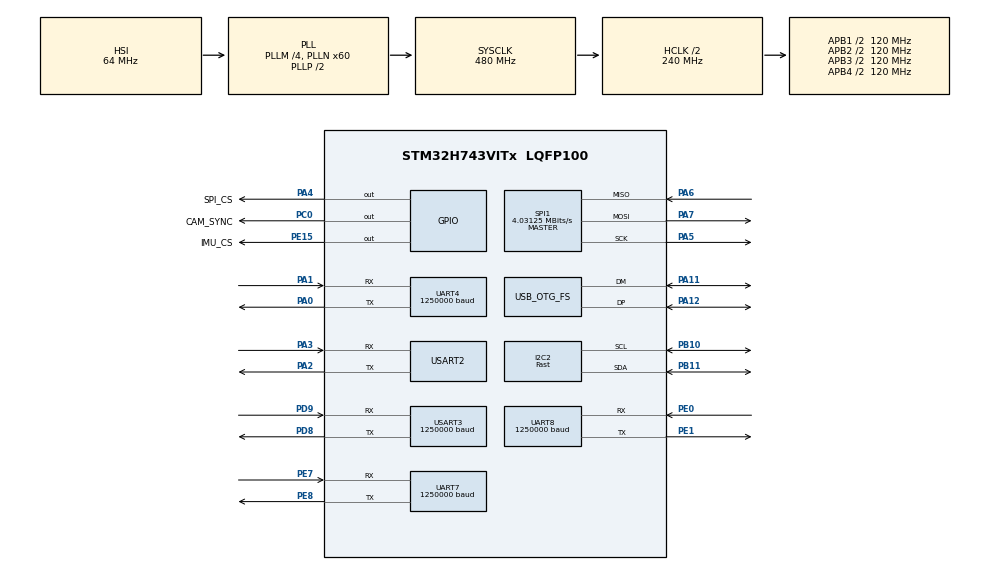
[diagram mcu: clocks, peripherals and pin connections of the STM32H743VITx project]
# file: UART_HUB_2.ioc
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Dma.I2C2_RX.0.Direction=DMA_PERIPH_TO_MEMORY
Dma.I2C2_RX.0.EventEnable=DISABLE
Dma.I2C2_RX.0.FIFOMode=DMA_FIFOMODE_DISABLE
Dma.I2C2_RX.0.Instance=DMA1_Stream0
Dma.I2C2_RX.0.MemDataAlignment=DMA_MDATAALIGN_BYTE
Dma.I2C2_RX.0.MemInc=DMA_MINC_ENABLE
Dma.I2C2_RX.0.Mode=DMA_NORMAL
Dma.I2C2_RX.0.PeriphDataAlignment=DMA_PDATAALIGN_BYTE
Dma.I2C2_RX.0.PeriphInc=DMA_PINC_DISABLE
Dma.I2C2_RX.0.Polarity=HAL_DMAMUX_REQ_GEN_RISING
Dma.I2C2_RX.0.Priority=DMA_PRIORITY_LOW
Dma.I2C2_RX.0.RequestNumber=1
Dma.I2C2_RX.0.SignalID=NONE
Dma.I2C2_RX.0.SyncEnable=DISABLE
Dma.I2C2_RX.0.SyncPolarity=HAL_DMAMUX_SYNC_NO_EVENT
Dma.I2C2_RX.0.SyncRequestNumber=1
Dma.I2C2_RX.0.SyncSignalID=NONE
Dma.I2C2_TX.1.Direction=DMA_MEMORY_TO_PERIPH
Dma.I2C2_TX.1.EventEnable=DISABLE
Dma.I2C2_TX.1.FIFOMode=DMA_FIFOMODE_DISABLE
Dma.I2C2_TX.1.Instance=DMA1_Stream1
Dma.I2C2_TX.1.MemDataAlignment=DMA_MDATAALIGN_BYTE
Dma.I2C2_TX.1.MemInc=DMA_MINC_ENABLE
Dma.I2C2_TX.1.Mode=DMA_NORMAL
Dma.I2C2_TX.1.PeriphDataAlignment=DMA_PDATAALIGN_BYTE
Dma.I2C2_TX.1.PeriphInc=DMA_PINC_DISABLE
Dma.I2C2_TX.1.Polarity=HAL_DMAMUX_REQ_GEN_RISING
Dma.I2C2_TX.1.Priority=DMA_PRIORITY_LOW
Dma.I2C2_TX.1.RequestNumber=1
Dma.I2C2_TX.1.SignalID=NONE
Dma.I2C2_TX.1.SyncEnable=DISABLE
Dma.I2C2_TX.1.SyncPolarity=HAL_DMAMUX_SYNC_NO_EVENT
Dma.I2C2_TX.1.SyncRequestNumber=1
Dma.I2C2_TX.1.SyncSignalID=NONE
Dma.Request0=I2C2_RX
Dma.Request1=I2C2_TX
Dma.Request2=SPI1_TX
Dma.Request3=SPI1_RX
Dma.SPI1_RX.3.Direction=DMA_PERIPH_TO_MEMORY
Dma.SPI1_RX.3.EventEnable=DISABLE
Dma.SPI1_RX.3.FIFOMode=DMA_FIFOMODE_DISABLE
Dma.SPI1_RX.3.Instance=DMA1_Stream5
Dma.SPI1_RX.3.MemDataAlignment=DMA_MDATAALIGN_BYTE
Dma.SPI1_RX.3.MemInc=DMA_MINC_ENABLE
Dma.SPI1_RX.3.Mode=DMA_NORMAL
Dma.SPI1_RX.3.PeriphDataAlignment=DMA_PDATAALIGN_BYTE
Dma.SPI1_RX.3.PeriphInc=DMA_PINC_DISABLE
Dma.SPI1_RX.3.Polarity=HAL_DMAMUX_REQ_GEN_RISING
Dma.SPI1_RX.3.Priority=DMA_PRIORITY_MEDIUM
Dma.SPI1_RX.3.RequestNumber=1
Dma.SPI1_RX.3.SignalID=NONE
Dma.SPI1_RX.3.SyncEnable=DISABLE
Dma.SPI1_RX.3.SyncPolarity=HAL_DMAMUX_SYNC_NO_EVENT
Dma.SPI1_RX.3.SyncRequestNumber=1
Dma.SPI1_RX.3.SyncSignalID=NONE
Dma.SPI1_TX.2.Direction=DMA_MEMORY_TO_PERIPH
Dma.SPI1_TX.2.EventEnable=DISABLE
Dma.SPI1_TX.2.FIFOMode=DMA_FIFOMODE_DISABLE
Dma.SPI1_TX.2.Instance=DMA1_Stream4
Dma.SPI1_TX.2.MemDataAlignment=DMA_MDATAALIGN_BYTE
Dma.SPI1_TX.2.MemInc=DMA_MINC_ENABLE
Dma.SPI1_TX.2.Mode=DMA_NORMAL
Dma.SPI1_TX.2.PeriphDataAlignment=DMA_PDATAALIGN_BYTE
Dma.SPI1_TX.2.PeriphInc=DMA_PINC_DISABLE
Dma.SPI1_TX.2.Polarity=HAL_DMAMUX_REQ_GEN_RISING
Dma.SPI1_TX.2.Priority=DMA_PRIORITY_MEDIUM
Dma.SPI1_TX.2.RequestNumber=1
Dma.SPI1_TX.2.SignalID=NONE
Dma.SPI1_TX.2.SyncEnable=DISABLE
Dma.SPI1_TX.2.SyncPolarity=HAL_DMAMUX_SYNC_NO_EVENT
Dma.SPI1_TX.2.SyncRequestNumber=1
Dma.SPI1_TX.2.SyncSignalID=NONE
I2C2.I2C_Speed_Mode=I2C_Fast
I2C2.Timing=0x00B03FDB
Mcu.Family=STM32H7
Mcu.Name=STM32H743VITx
Mcu.Package=LQFP100
NVIC.DMA1_Stream0_IRQn=true\:0\:0\:false\:false\:true\:false\:true\:true
NVIC.DMA1_Stream1_IRQn=true\:0\:0\:false\:false\:true\:false\:true\:true
NVIC.DMA1_Stream4_IRQn=true\:0\:0\:false\:false\:true\:false\:true\:true
NVIC.DMA1_Stream5_IRQn=true\:0\:0\:false\:false\:true\:false\:true\:true
NVIC.I2C2_ER_IRQn=true\:0\:0\:false\:false\:true\:true\:true\:true
NVIC.I2C2_EV_IRQn=true\:0\:0\:false\:false\:true\:true\:true\:true
NVIC.OTG_FS_EP1_OUT_IRQn=true\:0\:0\:false\:false\:true\:false\:true\:true
NVIC.OTG_FS_IRQn=true\:0\:0\:false\:false\:true\:false\:true\:true
NVIC.PriorityGroup=NVIC_PRIORITYGROUP_4
NVIC.SPI1_IRQn=true\:0\:0\:false\:false\:true\:false\:true\:true
NVIC.TIM2_IRQn=true\:0\:0\:false\:false\:true\:true\:true\:true
NVIC.TIM3_IRQn=true\:0\:0\:false\:false\:true\:true\:true\:true
NVIC.TIM4_IRQn=true\:0\:0\:false\:false\:true\:true\:true\:true
NVIC.UART8_IRQn=true\:0\:0\:false\:false\:true\:true\:true\:true
NVIC.USART3_IRQn=true\:0\:0\:false\:false\:true\:true\:true\:true
PA0.Mode=Asynchronous
PA0.Signal=UART4_TX
PA1.Mode=Asynchronous
PA1.Signal=UART4_RX
PA11.Mode=Device_Only
PA11.PinAttribute=Free
PA11.Signal=USB_OTG_FS_DM
PA12.Mode=Device_Only
PA12.PinAttribute=Free
PA12.Signal=USB_OTG_FS_DP
PA13\ (JTMS/SWDIO).Mode=Serial_Wire
PA13\ (JTMS/SWDIO).PinAttribute=Free
PA13\ (JTMS/SWDIO).Signal=DEBUG_JTMS-SWDIO
PA14\ (JTCK/SWCLK).Mode=Serial_Wire
PA14\ (JTCK/SWCLK).PinAttribute=Free
PA14\ (JTCK/SWCLK).Signal=DEBUG_JTCK-SWCLK
PA2.Mode=Asynchronous
PA2.Signal=USART2_TX
PA3.Mode=Asynchronous
PA3.Signal=USART2_RX
PA4.GPIO_Label=SPI_CS
PA4.GPIO_PuPd=GPIO_PULLUP
PA4.GPIO_Speed=GPIO_SPEED_FREQ_VERY_HIGH
PA4.PinState=GPIO_PIN_SET
PA4.Signal=GPIO_Output
PA5.GPIO_Speed=GPIO_SPEED_FREQ_LOW
PA5.Mode=Full_Duplex_Master
PA5.Signal=SPI1_SCK
PA6.GPIO_Speed=GPIO_SPEED_FREQ_LOW
PA6.Mode=Full_Duplex_Master
PA6.Signal=SPI1_MISO
PA7.GPIO_Speed=GPIO_SPEED_FREQ_LOW
PA7.Mode=Full_Duplex_Master
PA7.Signal=SPI1_MOSI
PB10.Mode=I2C
PB10.Signal=I2C2_SCL
PB11.Mode=I2C
PB11.Signal=I2C2_SDA
PC0.GPIO_Label=CAM_SYNC
PC0.GPIO_PuPd=GPIO_PULLDOWN
PC0.GPIO_Speed=GPIO_SPEED_FREQ_VERY_HIGH
PC0.Signal=GPIO_Output
PD8.Mode=Asynchronous
PD8.Signal=USART3_TX
PD9.Mode=Asynchronous
PD9.PinAttribute=Free
PD9.Signal=USART3_RX
PE0.Mode=Asynchronous
PE0.PinAttribute=Free
PE0.Signal=UART8_RX
PE1.Mode=Asynchronous
PE1.PinAttribute=Free
PE1.Signal=UART8_TX
PE15.GPIO_Label=IMU_CS
PE15.GPIO_PuPd=GPIO_PULLUP
PE15.GPIO_Speed=GPIO_SPEED_FREQ_VERY_HIGH
PE15.PinState=GPIO_PIN_SET
PE15.Signal=GPIO_Output
PE7.Mode=Asynchronous
PE7.Signal=UART7_RX
PE8.Mode=Asynchronous
PE8.Signal=UART7_TX
ProjectManager.HeapSize=0x200
ProjectManager.StackSize=0x400
ProjectManager.TargetToolchain=STM32CubeIDE
RCC.ADCFreq_Value=150000000
RCC.APB1Freq_Value=120000000
RCC.APB2Freq_Value=120000000
RCC.APB3Freq_Value=120000000
RCC.APB4Freq_Value=120000000
RCC.CortexFreq_Value=480000000
RCC.D1PPRE=RCC_APB3_DIV2
RCC.D2PPRE1=RCC_APB1_DIV2
RCC.D2PPRE2=RCC_APB2_DIV2
RCC.D3PPRE=RCC_APB4_DIV2
RCC.DIVM1=4
RCC.DIVM2=4
RCC.DIVN1=60
RCC.DIVN2=9
RCC.DIVP2=1
RCC.DIVQ1=5
RCC.HCLKFreq_Value=240000000
RCC.HPRE=RCC_HCLK_DIV2
RCC.PLL2FRACN=3072
RCC.PLL3FRACN=0
RCC.PLLFRACN=0
RCC.PWR_Regulator_Voltage_Scale=PWR_REGULATOR_VOLTAGE_SCALE0
RCC.SPI123CLockSelection=RCC_SPI123CLKSOURCE_PLL3
RCC.SYSCLKFreq_VALUE=480000000
RCC.SYSCLKSource=RCC_SYSCLKSOURCE_PLLCLK
RCC.USBCLockSelection=RCC_USBCLKSOURCE_HSI48
RCC.USBFreq_Value=48000000
SPI1.BaudRatePrescaler=SPI_BAUDRATEPRESCALER_32
SPI1.CLKPhase=SPI_PHASE_2EDGE
SPI1.CLKPolarity=SPI_POLARITY_HIGH
SPI1.CalculateBaudRate=4.03125 MBits/s
SPI1.DataSize=SPI_DATASIZE_8BIT
SPI1.Direction=SPI_DIRECTION_2LINES
SPI1.Mode=SPI_MODE_MASTER
SPI1.VirtualType=VM_MASTER
TIM2.Period=100
TIM2.Prescaler=24000
TIM3.Period=100
TIM3.Prescaler=24000
TIM4.Period=100
TIM4.Prescaler=24000
UART4.BaudRate=1250000
UART7.BaudRate=1250000
UART8.BaudRate=1250000
UART8.DMADisableonRxErrorParam=UART_ADVFEATURE_DMA_DISABLEONRXERROR
UART8.FIFOMode=FIFOMODE_ENABLE
UART8.Parity=PARITY_EVEN
UART8.RXFIFOThreshold=RXFIFO_THRESHOLD_FULL
UART8.StopBits=UART_STOPBITS_1
UART8.TXFIFOThreshold=TXFIFO_THRESHOLD_EMPTY
UART8.WordLength=WORDLENGTH_9B
USART2.VirtualMode-Asynchronous=VM_ASYNC
USART3.BaudRate=1250000
USART3.DMADisableonRxErrorParam=ADVFEATURE_DMA_DISABLEONRXERROR
USART3.FIFOMode=FIFOMODE_ENABLE
USART3.Parity=PARITY_EVEN
USART3.RXFIFOThreshold=RXFIFO_THRESHOLD_FULL
USART3.StopBits=STOPBITS_2
USART3.TXFIFOThreshold=TXFIFO_THRESHOLD_EMPTY
USART3.VirtualMode-Asynchronous=VM_ASYNC
USART3.WordLength=WORDLENGTH_9B
USB_DEVICE.CLASS_NAME_FS=CDC
USB_DEVICE.VirtualMode-CDC_FS=Cdc
USB_DEVICE.VirtualModeFS=Cdc_FS
USB_OTG_FS.VirtualMode=Device_Only
VP_TIM2_VS_ClockSourceINT.Mode=Internal
VP_TIM3_VS_ClockSourceINT.Mode=Internal
VP_TIM4_VS_ClockSourceINT.Mode=Internal
VP_USB_DEVICE_VS_USB_DEVICE_CDC_FS.Mode=CDC_FS
board=custom

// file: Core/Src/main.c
/* USER CODE BEGIN Header */
/**
  ******************************************************************************
  * @file           : main.c
  * @brief          : Main program body
  ******************************************************************************
  * @attention
  *
  * Copyright (c) 2022 STMicroelectronics.
  * All rights reserved.
  *
  * This software is licensed under terms that can be found in the LICENSE file
  * in the root directory of this software component.
  * If no LICENSE file comes with this software, it is provided AS-IS.
  *
  ******************************************************************************
  */
/* USER CODE END Header */
#include "main.h"
#include "dma.h"
#include "i2c.h"
#include "spi.h"
#include "tim.h"
#include "usart.h"
#include "usb_device.h"
#include "gpio.h"

/* USER CODE BEGIN Includes */
#include "bhy2.h"
#include "bhy2_hif.h"
#include "bhy2_parse.h"
//#include "bhy2_defs.h"

#include <stdarg.h>
#include <stdio.h>
//#include "Bosch_SHUTTLE_BHI260.fw.h"
#include "Bosch_SHUTTLE_BHI260_2.fw.h"
//#include "Bosch_SHUTTLE_BHI260_BMM150.fw.h"

#include "IMU_funcs.h"
#include <string.h>
/* USER CODE END Includes */

void SystemClock_Config(void);

/* USER CODE BEGIN 0 */
//Порт, на котором находится imu
#define BHY2_I2C hi2c2
#define BHY2_SPI hspi1
//Собственный адрес микросхемы
#define BHY2_ADDR (0x28 << 1)

//Размер рабочего буфера
#define BFY2_WORK_BUFFER_SIZE   2048

int mError=10;//!< Последняя ошибка

static uint8_t mWorkBuffer[BFY2_WORK_BUFFER_SIZE];

//�?дентификатор сенсора (микросхема содержит кучу виртуальных сенсоров)
#define QUAT_SENSOR_ID     BHY2_SENSOR_ID_GAMERV

//Дефайны для UART хаба
#define SOM1 0xF0
#define SOM2 0xAA

#define SOM1_nByte    0//!<Порядковый номер байта Start of Message_1
#define SOM2_nByte    1//!<Порядковый номер байта Start of Message_2
#define MsgLen_nByte  2//!<Порядковый номер байта длины передаваемого сообщения
#define AnswLen_nByte 3//!<Порядковый номер байта длины ответного сообщения от KONDO
#define Addr_nByte    4//!<Порядковый номер байта содержащего адрес переферии
#define Msg_nByte     5//!<Порядковый первого байта в сообщении от RPi_CM4

#define UART2_ADDR  0x00
#define UART4_ADDR  0x01
#define UART7_ADDR  0x02
#define UART8_ADDR  0x03
#define I2C2_ADDR   0x04
#define SYNC_ADDR   0x05
#define IMU_CS_ADDR 0x06
#define QUATERNION_ADDR 0x07

#define I2C_TIMEOUT 10

#define BUFFERS_LEN   255//!< Длина всех буферов

#define PACKAGE_INFO_BYTES 5

//uint8_t txBuf[1] = {0};
uint8_t rxBuf[BUFFERS_LEN] = { 0 };//!<Буфер для байта, полученного при прерывании
//uint8_t rxbuf_len = 1;//!<Длина буфера, полученного при прерывании

//kondo
uint8_t rxBufKondo[BUFFERS_LEN] = { 0 };//!<Буфер для одиночного байта от KONDO, полученного при прерывании
uint8_t rxbuf_len_kondo = BUFFERS_LEN;//!<Длина ,буфера для одиночного байта от KONDO, полученного при прерывании

uint8_t txBufForKondo[BUFFERS_LEN] = { 0 };
uint8_t txbuf_len_kondo = 1;

uint8_t MsgBufRX[BUFFERS_LEN] = { 0 };//!<Буффер для хранения сообщения от мастера(RPi_CM4) интерфейс - STM32_UART3
uint8_t MsgBufLen = BUFFERS_LEN;
uint8_t MsgCnt = 0; //Счётчик текущего количества байт в сообщении

uint8_t MsgBufTX[BUFFERS_LEN] = { 0 };
uint8_t AnswBufLen = BUFFERS_LEN;
uint8_t CurrentAnswBufLen = BUFFERS_LEN;
uint8_t AnswCnt = 0;//Счётчик текущего количества байт в сообщении в принятом сообщении от KONDO
uint8_t AnswerIsReady = 0;

uint8_t regData = 0; //I2C2 buffer

uint8_t TransmitIsReady = 0; //!<Флаг готовности данных к передаче по интерфейсу
uint8_t Periph_Addr = 0; //!<Переменная для хранения адреса переферии

//rst buff
uint8_t rxBufRST[3] = { 0 };
uint8_t rstbuf_len = 3;
uint8_t i = 0;

uint8_t dmaTxCompleted_uart2 = 1;//!<Флаг окончания передачи DMA по UART2
uint8_t dmaTxCompleted_uart3 = 1;//!<Флаг окончания передачи DMA по UART3

uint8_t IMU_head_tim = 1;

enum RPI_READ_STATE
{
	PACKAGE_INFO,
	PACKAGE_CONTENT
};

enum RPI_READ_STATE rpi_msg_state = PACKAGE_INFO;

struct config
{
    uint16_t sensitivity;
    uint16_t range;
    uint32_t latency;
    bhy2_float sample_rate;
};

struct Quaternion
{
    uint64_t mTimestamp; //!< Штамп времени в нс
    uint32_t mTimeS;     //!< Секунды штампа времени
    uint32_t mTimeNS;    //!< Наносекунды штампа времени
    int16_t    mX;       //!< Координаты
    int16_t    mY;
    int16_t    mZ;
    int16_t    mW;

    float    mAcc;       //!< Точность представления

    uint8_t  mSensorId;  //!< �?дентификатор сенсора
};

#define QUATERNION_BYTE_LENGHT 16//!<Длина посылки кватериниона в байтах
uint8_t qt_component_buffer[QUATERNION_BYTE_LENGHT] = { 0 };

static void parse_quaternion(const struct bhy2_fifo_parse_data_info *callback_info, void *callback_ref)
  {
    //Результирующий кватернион
    //struct Quaternion *qt = (Quaternion*)callback_ref;
	struct Quaternion *qt = callback_ref;
    //struct Quaternion *qt;
    struct bhy2_data_quaternion data;

    if (callback_info->data_size != 11) /* Check for a valid payload size. Includes sensor ID */
      {
      return;
      }

    //Парсить фрейм и получить кватернион
    bhy2_parse_quaternion(callback_info->data_ptr, &data);

    //Заполнить выходную структуру
    qt->mSensorId = callback_info->sensor_id;
    qt->mTimestamp = *callback_info->time_stamp; /* Store the last timestamp */

    qt->mTimestamp *= 15625; /* Timestamp is now in nanoseconds */
    qt->mTimeS  = (uint32_t)(qt->mTimestamp / UINT64_C(1000000000));
    qt->mTimeNS = (uint32_t)(qt->mTimestamp - (qt->mTimeS * UINT64_C(1000000000)));

    /*
    qt->mX = data.x / 16384.0f;
    qt->mY = data.y / 16384.0f;
    qt->mZ = data.z / 16384.0f;
    qt->mW = data.w / 16384.0f;
    */

    qt->mX = data.x;
    qt->mY = data.y;
    qt->mZ = data.z;
    qt->mW = data.w;

    qt->mAcc = ((data.accuracy * 180.0f) / 16384.0f) / 3.141592653589793f;

    *qt_component_buffer = ((qt->mX)>>8);
    *(qt_component_buffer + 1) = (uint8_t)qt->mX;

    *(qt_component_buffer + 2) = ((qt->mY)>>8);
    *(qt_component_buffer + 3) = (uint8_t)qt->mY;

    *(qt_component_buffer + 4) = ((qt->mZ)>>8);
    *(qt_component_buffer + 5) = (uint8_t)qt->mZ;

    *(qt_component_buffer + 6) = ((qt->mW)>>8);
    *(qt_component_buffer + 7) = (uint8_t)qt->mW;

    *(qt_component_buffer + 8) = ((qt->mTimestamp)>>56);
    *(qt_component_buffer + 9) = ((qt->mTimestamp)>>48);
    *(qt_component_buffer + 10) = ((qt->mTimestamp)>>40);
    *(qt_component_buffer + 11) = ((qt->mTimestamp)>>32);
    *(qt_component_buffer + 12) = ((qt->mTimestamp)>>24);
    *(qt_component_buffer + 13) = ((qt->mTimestamp)>>16);
    *(qt_component_buffer + 14) = ((qt->mTimestamp)>>8);
    *(qt_component_buffer + 15) = (uint8_t)qt->mTimestamp;

    //HAL_UART_Transmit(&huart2, qt_component_buffer, 8, 10);
    //uint8_t str[100];

    //sprintf(str, "Quater: tm=%d x=%f y=%f z=%f w=%f acc=%f\n\r", qt->mTimeS, qt->mX, qt->mY, qt->mZ, qt->mW, qt->mAcc );
    //usbPrintf( "Quater: tm=%d x=%f y=%f z=%f w=%f acc=%f\n\r", qt->mTimeS, qt->mX, qt->mY, qt->mZ, qt->mW, qt->mAcc );
    //uartPrintf( "Quater: tm=%d x=%f y=%f z=%f w=%f acc=%f\n\r", qt->mTimeS, qt->mX, qt->mY, qt->mZ, qt->mW, qt->mAcc );
  }

//-------------------------------------------------------------------------------------------

enum MSG_TYPE
{
	KONDO_SERVO_CMD,
	KONDO_IMU_STATE,
	KONDO_SERVO_STATE,
	IMU_STATE,
	NONE = 0
};

struct Message
{
	const uint8_t* buffer;
	const enum MSG_TYPE type;
	const size_t  tx_size;
	const size_t  rx_size;
	const uint8_t  destroyable;
};

// Creates copy of message
struct Message copy_construct(const struct Message* src, uint8_t* data_storage)
{
	assert(src);

	uint8_t tx_size = src->tx_size;
	uint8_t rx_size = src->rx_size;
	uint8_t destroyable = src->destroyable;
	enum MSG_TYPE type  = src->type;

	//uint8_t* new_buffer = NULL;

	if (src->buffer)
	{
		//new_buffer = (uint8_t*)calloc(tx_size, sizeof(uint8_t));
		//assert(new_buffer);
		memcpy(data_storage, src->buffer, tx_size);
	}

	struct Message msg = {data_storage, type, tx_size, rx_size, destroyable};
	return msg;
}

// Safely destructs message
void free_msg_content(struct Message* msg)
{
	assert(msg);
	if (msg->buffer && msg->destroyable)
	{
		//free(msg->buffer);
		msg->buffer = NULL;
	}
}

// Sends message to huart
void send(UART_HandleTypeDef *huart, const struct Message* msg, const uint8_t timeout)
{
	assert(msg);
	assert(msg->buffer);

	HAL_UART_Transmit(huart, msg->buffer, msg->tx_size, timeout);
}

//-------------------------------------------------------------------------------------------

#define FIFO_SIZE 500
#define MSG_MAX_DATA_SIZE 256
typedef struct Message FIFO_TYPE;

struct FIFO
{
	size_t head;
	size_t tail;
	size_t size;
	FIFO_TYPE buf[FIFO_SIZE];
	uint8_t* data_storage;
};

void fifo_init(struct FIFO* fifo)
{
	assert(fifo);

	uint8_t* newbuf =(uint8_t*)calloc(FIFO_SIZE, MSG_MAX_DATA_SIZE);

	assert(newbuf);

	fifo->data_storage = newbuf;
}

void fifo_push_tail(struct FIFO* fifo, const FIFO_TYPE* value)
{
	assert(fifo);
	assert(fifo->size < FIFO_SIZE);

	memcpy(&(fifo->buf[fifo->tail]), value, sizeof(FIFO_TYPE));
	fifo->tail = (fifo->tail + 1) % FIFO_SIZE;
	fifo->size++;
}

void fifo_push_head(struct FIFO* fifo, const FIFO_TYPE* value)
{
	assert(fifo);
	assert(fifo->size < FIFO_SIZE);

	fifo->head = (FIFO_SIZE + fifo->head - 1) % FIFO_SIZE;
	memcpy(&(fifo->buf[fifo->head]), value, sizeof(FIFO_TYPE));
	fifo->size++;
}

// Copies the value to tail of FIFO
void fifo_add(struct FIFO* fifo, FIFO_TYPE value)
{
	uint8_t* data_storage = fifo->data_storage + MSG_MAX_DATA_SIZE * fifo->tail;
	FIFO_TYPE value_copy = copy_construct(&value, data_storage);
	fifo_push_tail(fifo, &value_copy);
}

// WARNING: don't forget to destruct the value if you use this function instead of fifo_send
FIFO_TYPE fifo_get(struct FIFO* fifo)
{
	assert(fifo);
	assert(fifo->size > 0);

	FIFO_TYPE value = fifo->buf[fifo->head];

	fifo->head = (fifo->head + 1) % FIFO_SIZE;

	fifo->size--;
	return value;
}
/*
// Gets the value from FIFO, sends it to huart and frees its content
uint8_t fifo_send(struct FIFO* fifo, UART_HandleTypeDef *huart, const uint8_t timeout)
{
	FIFO_TYPE msg = fifo_get(fifo);
	CurrentAnswBufLen = msg.rx_size;
	HAL_UART_Receive_IT(&huart8, rxBufKondo, CurrentAnswBufLen);
	send(huart, &msg, timeout);
	free_msg_content(&msg);
	return msg.rx_size;
}
*/
//-------------------------------------------------------------------------------------------

struct FIFO kondo_fifo;

#define KONDO_IMU_REQUEST_LENGTH  10
#define KONDO_IMU_RESPONCE_LENGTH 5

const uint8_t KONDO_IMU3_REQUEST_BYTES[] = {0xa, 0x0, 0x20, 0x0, 0x0, 0x0, 0x28, 0x0, 0x2, 0x54};
const uint8_t KONDO_IMU4_REQUEST_BYTES[] = {0xa, 0x0, 0x20, 0x0, 0x0, 0x0, 0x2a, 0x0, 0x2, 0x56};

struct Message KONDO_IMU3_REQUEST_MSG = {KONDO_IMU3_REQUEST_BYTES, KONDO_IMU_STATE, KONDO_IMU_REQUEST_LENGTH, KONDO_IMU_RESPONCE_LENGTH, 0};
struct Message KONDO_IMU4_REQUEST_MSG = {KONDO_IMU4_REQUEST_BYTES, KONDO_IMU_STATE, KONDO_IMU_REQUEST_LENGTH, KONDO_IMU_RESPONCE_LENGTH, 0};

//-------------------------------------------------------------------------------------------
/*
void pack(struct Message* msg, const struct Message kondo_responce, const struct Message quaternion)
{
	assert(msg);
	assert(msg->buffer);

	msg->buffer[0] = kondo_responce.size;
	memcpy(msg->buffer + 1, kondo_responce.buffer, kondo_responce.size);
	msg->buffer[kondo_responce.size + 1] = quaternion.size;
	memcpy(msg->buffer + kondo_responce.size + 2, quaternion.buffer, quaternion.size);
	msg->size = kondo_responce.size quaternion.size + 2;
}
*/
//-------------------------------------------------------------------------------------------
void clear_msg_buf(void)
{
	uint32_t j = 0;
	for (j = 0; j < BUFFERS_LEN; j++)
		MsgBufRX[j] = 0;
	j = 0;
}

void clear_buf(uint8_t *buff, uint8_t buffNumber)
{
	uint8_t j = 0;
	for (j = 0; j < buffNumber; j++)
		buff[j] = 0;
	j = 0;
}

struct PackageInfo
{
	uint8_t ready;
	uint8_t periph_addr;
	uint8_t msg_length;
	uint8_t ans_length;
};

struct PackageInfo current_package = {0};

void kondo_fucking_send_and_fucking_register_responce(struct Message msg)
{
	CurrentAnswBufLen = msg.rx_size;
	HAL_UART_Receive_IT(&huart8, rxBufKondo, CurrentAnswBufLen);
	send(&huart8, &msg, 10);
	free_msg_content(&msg);
}

enum KONDO_TICK_SWITCH
{
	FIFO_FLUSH = 0,
	IMU3_REQUEST = 1,
	IMU4_REQUEST = 2,
	IMU_HEAD = 3
};

struct KONDO_SEND_STATE
{
	enum KONDO_TICK_SWITCH type;
	uint8_t transmit_ready;
	uint8_t package_ready;

	uint8_t buffer[BUFFERS_LEN * 2];
	uint8_t index_free;
};

struct KONDO_SEND_STATE kondo_send_state = {NONE, 1, 0, 0, 0};

void fucking_send(UART_HandleTypeDef *huart, const uint8_t* buffer, const size_t size)
{
	HAL_StatusTypeDef send_state = HAL_UART_Transmit_IT(huart, buffer, size);

	while (send_state != HAL_OK)
		send_state = HAL_UART_Transmit_IT(huart, buffer, size);
}

/* USER CODE END 0 */

int main(void)
{

  /* MCU Configuration--------------------------------------------------------*/

  /* Reset of all peripherals, Initializes the Flash interface and the Systick. */
  HAL_Init();

  /* USER CODE BEGIN Init */
  fifo_init(&kondo_fifo);
  /* USER CODE END Init */

  /* Configure the system clock */
  SystemClock_Config();

  /* Initialize all configured peripherals */
  MX_GPIO_Init();
  MX_DMA_Init();
  MX_I2C2_Init();
  MX_SPI1_Init();
  MX_USB_DEVICE_Init();
  MX_USART2_UART_Init();
  MX_UART4_Init();
  MX_UART7_Init();
  MX_UART8_Init();
  MX_USART3_UART_Init();
  MX_TIM3_Init();
  MX_TIM2_Init();
  MX_TIM4_Init();
  /* USER CODE BEGIN 2 */

  HAL_UART_Receive_IT(&huart3, rxBuf, PACKAGE_INFO_BYTES);

  HAL_UART_Receive_IT(&huart4, rxBufRST, rstbuf_len);

  HAL_TIM_Base_Start_IT(&htim3);
  HAL_TIM_Base_Start_IT(&htim2);
  HAL_TIM_Base_Start_IT(&htim4);

  // IMU SETUP --------------------------------------------------------------------------------
  struct config conf;
  struct Quaternion mQuaternion; //!< Текущий кватернион
  static uint8_t product_id = 0;
  struct bhy2_dev bhy2;
  static uint16_t bhy2KernelVersion;

  spi_init(&BHY2_SPI);

  mError = bhy2_init( BHY2_SPI_INTERFACE, &bhy2_spi_read, &bhy2_spi_write, bhy2_delay_us, 64, NULL, &bhy2 ); if( mError ) return 1;
  mError = bhy2_soft_reset(&bhy2); if( mError ) return 2;
  mError = bhy2_get_product_id(&product_id, &bhy2); if( mError ) return 3;
  if( product_id != BHY2_PRODUCT_ID ) return 0;
  uint8_t hintr_ctrl = BHY2_ICTL_DISABLE_STATUS_FIFO | BHY2_ICTL_DISABLE_DEBUG;
  mError = bhy2_set_host_interrupt_ctrl(hintr_ctrl, &bhy2); if( mError ) return 4;
  mError = bhy2_get_host_interrupt_ctrl(&hintr_ctrl, &bhy2); if( mError ) return 5;
  uint8_t hif_ctrl = 0;
  mError = bhy2_set_host_intf_ctrl(hif_ctrl, &bhy2); if( mError ) return 6;
  uint8_t boot_status;
  mError = bhy2_get_boot_status(&boot_status, &bhy2); if( mError ) return 7;
  if( !(boot_status & BHY2_BST_HOST_INTERFACE_READY) ) return 8;
  uint8_t sensor_error;
  if( boot_status & BHY2_BST_HOST_INTERFACE_READY )
  {
	  mError = bhy2_upload_firmware_to_ram(bhy2_firmware_image, sizeof(bhy2_firmware_image), &bhy2);
  }
  if( mError ) return 9;
  mError = bhy2_get_error_value(&sensor_error, &bhy2); if( mError || sensor_error ) return 10;
  mError = bhy2_boot_from_ram(&bhy2); if( mError ) return 11;
  mError = bhy2_get_error_value(&sensor_error, &bhy2); if( mError || sensor_error ) return 12;
  mError = bhy2_get_kernel_version(&bhy2KernelVersion, &bhy2); if( mError || bhy2KernelVersion == 0 ) return 13;
  mError = bhy2_register_fifo_parse_callback(QUAT_SENSOR_ID, parse_quaternion, &mQuaternion, &bhy2); if( mError ) return 14;
  mError = bhy2_get_and_process_fifo( mWorkBuffer, BFY2_WORK_BUFFER_SIZE, &bhy2); if( mError ) return 15;
  mError = bhy2_update_virtual_sensor_list(&bhy2); if( mError ) return 16;

  float sample_rate = 800.0; /* Read out data measured at 100Hz */
  uint32_t report_latency_ms = 0; /* Report immediately */
  mError = bhy2_set_virt_sensor_cfg(QUAT_SENSOR_ID, sample_rate, report_latency_ms, &bhy2); if( mError ) return 17;
  //-------------------------------------------------------------------------------------------

  /* USER CODE END 2 */

  /* Infinite loop */
  /* USER CODE BEGIN WHILE */

  while (1)
  {

	  if (IMU_head_tim)
	  {
		  uint8_t interruptStatus = 0;
		  bhy2_get_interrupt_status( &interruptStatus, &bhy2 );

		  if( interruptStatus ){
			  bhy2_get_and_process_fifo( mWorkBuffer, BFY2_WORK_BUFFER_SIZE, &bhy2 );
			  IMU_head_tim = 0;
		  }
	  }

	#define NEXT_DATA(label) kondo_send_state.type = (label); kondo_send_state.transmit_ready = 0;

	if (kondo_send_state.package_ready && kondo_send_state.transmit_ready)
	{
		switch(kondo_send_state.type)
		{
			case FIFO_FLUSH:
			{
				NEXT_DATA(IMU3_REQUEST);
				kondo_send_state.transmit_ready = 0;

				FIFO_TYPE msg = fifo_get(&kondo_fifo);
				kondo_fucking_send_and_fucking_register_responce(msg);
			} break;
			case IMU3_REQUEST:
			{
				NEXT_DATA(IMU4_REQUEST);

				kondo_fucking_send_and_fucking_register_responce(KONDO_IMU3_REQUEST_MSG);
			} break;

			case IMU4_REQUEST:
			{
				NEXT_DATA(IMU_HEAD);

				kondo_fucking_send_and_fucking_register_responce(KONDO_IMU4_REQUEST_MSG);
			} break;

			case IMU_HEAD:
			{
				//HAL_Delay(5);

				//fucking_send(&huart3, qt_component_buffer, QUATERNION_BYTE_LENGHT);

				memcpy(kondo_send_state.buffer + kondo_send_state.index_free, qt_component_buffer, QUATERNION_BYTE_LENGHT);
				kondo_send_state.index_free += QUATERNION_BYTE_LENGHT;

				__disable_irq();
				fucking_send(&huart3, kondo_send_state.buffer, kondo_send_state.index_free);
				__enable_irq();

				kondo_send_state.index_free = 0;
				kondo_send_state.type  = NONE;
				kondo_send_state.transmit_ready = 1;
				kondo_send_state.package_ready = 0;
			} break;

		}
	}
    /* USER CODE END WHILE */

  }
}

void SystemClock_Config(void)
{
  RCC_OscInitTypeDef RCC_OscInitStruct = {0};
  RCC_ClkInitTypeDef RCC_ClkInitStruct = {0};

  /** Supply configuration update enable
  */
  HAL_PWREx_ConfigSupply(PWR_LDO_SUPPLY);
  /** Configure the main internal regulator output voltage
  */
  __HAL_PWR_VOLTAGESCALING_CONFIG(PWR_REGULATOR_VOLTAGE_SCALE0);

  while(!__HAL_PWR_GET_FLAG(PWR_FLAG_VOSRDY)) {}
  /** Macro to configure the PLL clock source
  */
  __HAL_RCC_PLL_PLLSOURCE_CONFIG(RCC_PLLSOURCE_HSI);
  /** Initializes the RCC Oscillators according to the specified parameters
  * in the RCC_OscInitTypeDef structure.
  */
  RCC_OscInitStruct.OscillatorType = RCC_OSCILLATORTYPE_HSI48|RCC_OSCILLATORTYPE_HSI;
  RCC_OscInitStruct.HSIState = RCC_HSI_DIV1;
  RCC_OscInitStruct.HSICalibrationValue = RCC_HSICALIBRATION_DEFAULT;
  RCC_OscInitStruct.HSI48State = RCC_HSI48_ON;
  RCC_OscInitStruct.PLL.PLLState = RCC_PLL_ON;
  RCC_OscInitStruct.PLL.PLLSource = RCC_PLLSOURCE_HSI;
  RCC_OscInitStruct.PLL.PLLM = 4;
  RCC_OscInitStruct.PLL.PLLN = 60;
  RCC_OscInitStruct.PLL.PLLP = 2;
  RCC_OscInitStruct.PLL.PLLQ = 5;
  RCC_OscInitStruct.PLL.PLLR = 2;
  RCC_OscInitStruct.PLL.PLLRGE = RCC_PLL1VCIRANGE_3;
  RCC_OscInitStruct.PLL.PLLVCOSEL = RCC_PLL1VCOWIDE;
  RCC_OscInitStruct.PLL.PLLFRACN = 0;
  if (HAL_RCC_OscConfig(&RCC_OscInitStruct) != HAL_OK)
  {
    Error_Handler();
  }
  /** Initializes the CPU, AHB and APB buses clocks
  */
  RCC_ClkInitStruct.ClockType = RCC_CLOCKTYPE_HCLK|RCC_CLOCKTYPE_SYSCLK
                              |RCC_CLOCKTYPE_PCLK1|RCC_CLOCKTYPE_PCLK2
                              |RCC_CLOCKTYPE_D3PCLK1|RCC_CLOCKTYPE_D1PCLK1;
  RCC_ClkInitStruct.SYSCLKSource = RCC_SYSCLKSOURCE_PLLCLK;
  RCC_ClkInitStruct.SYSCLKDivider = RCC_SYSCLK_DIV1;
  RCC_ClkInitStruct.AHBCLKDivider = RCC_HCLK_DIV2;
  RCC_ClkInitStruct.APB3CLKDivider = RCC_APB3_DIV2;
  RCC_ClkInitStruct.APB1CLKDivider = RCC_APB1_DIV2;
  RCC_ClkInitStruct.APB2CLKDivider = RCC_APB2_DIV2;
  RCC_ClkInitStruct.APB4CLKDivider = RCC_APB4_DIV2;

  if (HAL_RCC_ClockConfig(&RCC_ClkInitStruct, FLASH_LATENCY_4) != HAL_OK)
  {
    Error_Handler();
  }
}

/* USER CODE BEGIN 4 */
void HAL_UART_TxCpltCallback(UART_HandleTypeDef *huart)
{
	if (huart->Instance == USART2)
		dmaTxCompleted_uart2 = 1;
	if (huart->Instance == USART3)
		dmaTxCompleted_uart3 = 1;
}

void HAL_UART_RxCpltCallback(UART_HandleTypeDef *huart)
{
	if (huart->Instance == USART3)
	{
		switch(rpi_msg_state)
		{
			case PACKAGE_INFO:
			{

				uint8_t rx_SOM1 	   = rxBuf[0];
				uint8_t rx_SOM2 	   = rxBuf[1];
				uint8_t rx_msg_length  = rxBuf[2];
				uint8_t rx_ans_length  = rxBuf[3];
				uint8_t rx_periph_addr = rxBuf[4];

				if (rx_SOM1 != SOM1 || rx_SOM2 != SOM2)
				{
					HAL_UART_Receive_IT(&huart3, rxBuf, PACKAGE_INFO_BYTES);
					return;
				}

				current_package.periph_addr = rx_periph_addr;
				current_package.msg_length  = rx_msg_length;
				current_package.ans_length  = rx_ans_length;

				rpi_msg_state = PACKAGE_CONTENT;
				HAL_UART_Receive_IT(&huart3, rxBuf, rx_msg_length);

			} break;
			case PACKAGE_CONTENT:
			{
				struct Message msg = {rxBuf, KONDO_SERVO_CMD, current_package.msg_length, current_package.ans_length, 1};
				fifo_add(&kondo_fifo, msg);

				rpi_msg_state = PACKAGE_INFO;
				HAL_UART_Receive_IT(&huart3, rxBuf, PACKAGE_INFO_BYTES);
			} break;

			default: HAL_UART_Receive_IT(&huart3, rxBuf, PACKAGE_INFO_BYTES);
		}
	}

	if (huart->Instance == UART8)
	{
		memcpy(kondo_send_state.buffer + kondo_send_state.index_free, rxBufKondo, CurrentAnswBufLen);
		kondo_send_state.index_free += CurrentAnswBufLen;
		kondo_send_state.transmit_ready = 1;
	}

}

void HAL_TIM_PeriodElapsedCallback(TIM_HandleTypeDef *htim)
{

  if (htim->Instance == TIM3)
  {
    if (kondo_fifo.size > 0)
    {
    	kondo_send_state.type = FIFO_FLUSH;
    	kondo_send_state.package_ready = 1;
    }

  }
  if (htim->Instance == TIM2)
	  IMU_head_tim = 1;
/*
  if (htim->Instance == TIM4)
  	  respond();
*/
}

/* USER CODE END 4 */

void Error_Handler(void)
{
  __disable_irq();
  while (1)
  {
  }
}
